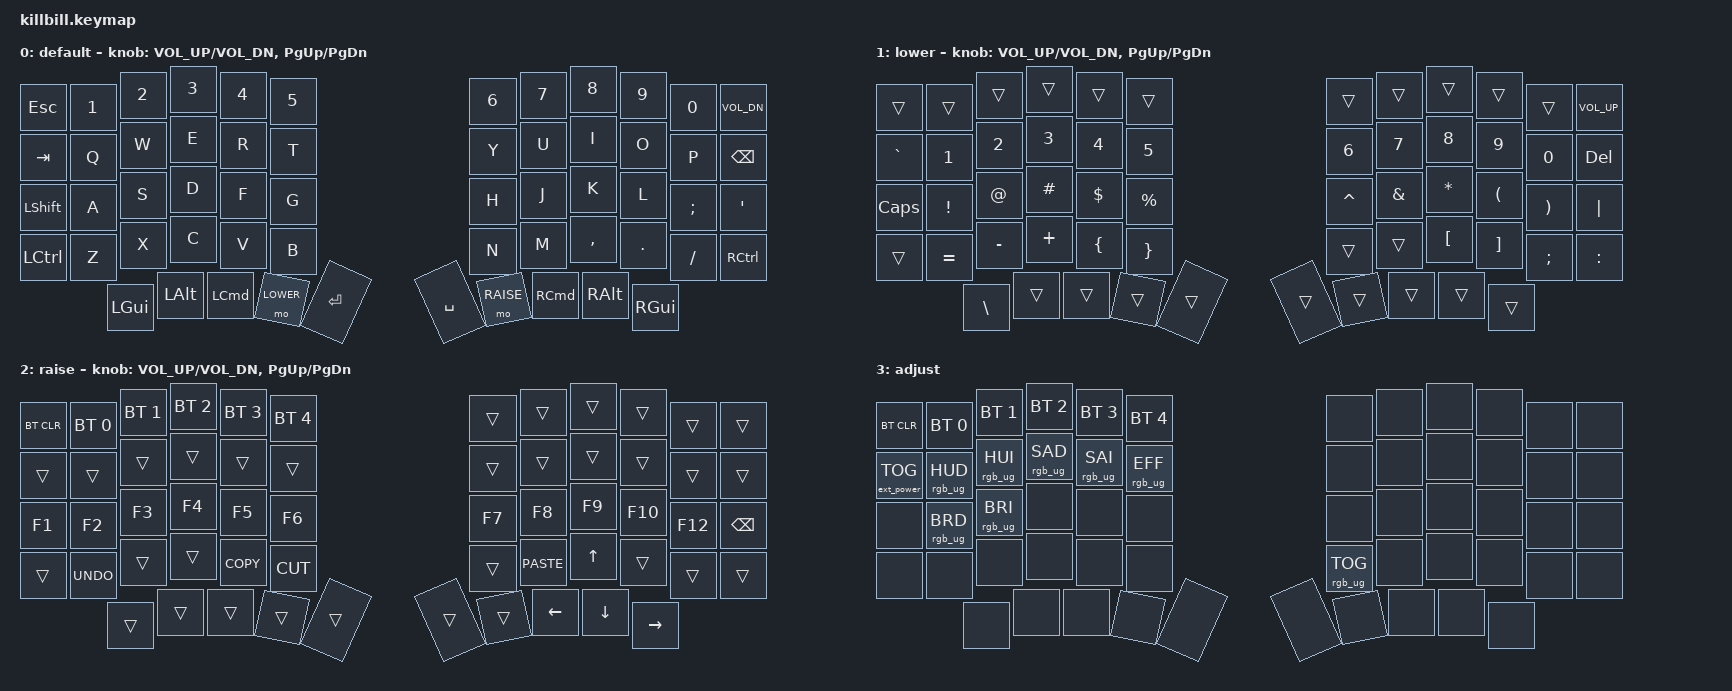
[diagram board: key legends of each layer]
/*
 * Copyright (c) 2020 The ZMK Contributors
 *
 * SPDX-License-Identifier: MIT
 */

#include <behaviors.dtsi>
#include <dt-bindings/zmk/bt.h>
#include <dt-bindings/zmk/ext_power.h>
#include <dt-bindings/zmk/keys.h>
#include <dt-bindings/zmk/rgb.h>

#define BASE 0
#define LOWER 1
#define RAISE 2
#define ADJUST 3

/ {
    // Activate ADJUST layer by pressing raise and lower

    conditional_layers {
        compatible = "zmk,conditional-layers";

        adjust_layer {
            if-layers = <LOWER RAISE>;
            then-layer = <ADJUST>;
        };
    };

    keymap {
        compatible = "zmk,keymap";

        default_layer {
            display-name = "default";

            // ------------------------------------------------------------------------------------------------------------
            // |   `   |  1  |  2  |  3   |  4   |  5   |                   |  6   |  7    |  8    |  9   |   0   |       |
            // |  ESC  |  Q  |  W  |  E   |  R   |  T   |                   |  Y   |  U    |  I    |  O   |   P   | BKSPC |
            // |  TAB  |  A  |  S  |  D   |  F   |  G   |                   |  H   |  J    |  K    |  L   |   ;   |   '   |
            // | SHIFT |  Z  |  X  |  C   |  V   |  B   |                   |  N   |  M    |  ,    |  .   |   /   | SHIFT |
            //               | GUI | ALT  | CTRL | LOWER|  ENTER |  | SPACE | RAISE| CTRL  | ALT   | GUI  |

            bindings = <
&kp ESCAPE  &kp N1  &kp N2  &kp N3  &kp N4  &kp N5  &kp N6  &kp N7  &kp N8  &kp N9  &kp N0  &kp C_VOL_DN  &kp TAB  &kp Q  &kp W  &kp E  &kp R  &kp T  &kp Y  &kp U  &kp I  &kp O  &kp P  &kp BSPC  &kp LSHIFT  &kp A  &kp S  &kp D  &kp F  &kp G  &kp H  &kp J  &kp K  &kp L  &kp SEMI  &kp SQT  &kp LEFT_CONTROL  &kp Z  &kp X  &kp C  &kp V  &kp B  &kp N  &kp M  &kp COMMA  &kp DOT  &kp FSLH  &kp RIGHT_CONTROL  &kp LGUI  &kp LALT  &kp LEFT_COMMAND  &mo LOWER  &kp RET  &kp SPACE  &mo RAISE  &kp RIGHT_COMMAND  &kp RALT  &kp RGUI
            >;

            sensor-bindings = <&inc_dec_kp C_VOL_UP C_VOL_DN &inc_dec_kp PG_UP PG_DN>;
        };

        lower_layer {
            display-name = "lower";

            // TODO: Some binds are waiting for shifted keycode support.
            // ------------------------------------------------------------------------------------------------------------
            // |       |  F1 |  F2 |  F3  |  F4  |  F5  |                   |  F6  |  F7   |  F8   |  F9  |  F10  |  F11  |
            // |   `   |  1  |  2  |  3   |  4   |  5   |                   |  6   |  7    |  8    |  9   |   0   |  F12  |
            // |       |  !  |  @  |  #   |  $   |  %   |                   |  ^   |  &    |  *    |  (   |   )   |   |   |
            // |       |  =  |  -  |  +   |  {   |  }   |                   |  [   |  ]    |  ;    |  :   |   \   |       |
            //               |     |      |      |      |        |  |       |      |       |       |      |

            bindings = <
&trans  &trans  &trans  &trans  &trans  &trans  &trans  &trans  &trans  &trans  &trans  &kp C_VOL_UP  &kp GRAVE  &kp N1  &kp N2  &kp N3  &kp N4  &kp N5  &kp N6  &kp N7  &kp N8  &kp N9  &kp N0  &kp DELETE  &kp CAPSLOCK  &kp EXCL  &kp AT  &kp HASH  &kp DLLR  &kp PRCNT  &kp CARET  &kp AMPS  &kp ASTRK  &kp LPAR  &kp RPAR  &kp PIPE  &trans  &kp EQUAL  &kp MINUS  &kp PLUS  &kp LBRC  &kp RBRC  &trans  &trans  &kp LBKT  &kp RBKT  &kp SEMI  &kp COLON  &kp BSLH  &trans  &trans  &trans  &trans  &trans  &trans  &trans  &trans  &trans
            >;

            sensor-bindings = <&inc_dec_kp C_VOL_UP C_VOL_DN &inc_dec_kp PG_UP PG_DN>;
        };

        raise_layer {
            display-name = "raise";

            // ------------------------------------------------------------------------------------------------------------
            // | BTCLR | BT1  | BT2  |  BT3  |  BT4  |  BT5 |                |      |      |       |      |       |       |
            // |       | INS  | PSCR | GUI   |       |      |                | PGUP |      |   ^   |      |       |       |
            // |       | ALT  | CTRL | SHIFT |       | CAPS |                | PGDN |   <- |   v   |  ->  |  DEL  | BKSPC |
            // |       | UNDO | CUT  | COPY  | PASTE |      |      |  |      |      |      |       |      |       |       |
            //                |      |       |       |      |      |  |      |      |      |       |      |

            bindings = <
&bt BT_CLR  &bt BT_SEL 0  &bt BT_SEL 1  &bt BT_SEL 2  &bt BT_SEL 3  &bt BT_SEL 4  &trans  &trans  &trans  &trans  &trans  &trans  &trans  &trans  &trans  &trans  &trans  &trans  &trans  &trans  &trans  &trans  &trans  &trans  &kp F1  &kp F2  &kp F3  &kp F4  &kp F5  &kp F6  &kp F7  &kp F8  &kp F9  &kp F10  &kp F12  &kp BSPC  &trans  &kp K_UNDO  &trans  &trans  &kp K_COPY  &kp K_CUT  &trans  &kp K_PASTE  &kp UP_ARROW  &trans  &trans  &trans  &trans  &trans  &trans  &trans  &trans  &trans  &trans  &kp LEFT_ARROW  &kp DOWN_ARROW  &kp RIGHT_ARROW
            >;

            sensor-bindings = <&inc_dec_kp C_VOL_UP C_VOL_DN &inc_dec_kp PG_UP PG_DN>;
        };

        adjust_layer {
            // ----------------------------------------------------------------------------------------------------------------------------
            // | BTCLR  |  BT1    |  BT2    |   BT3   |   BT4   |   BT5   |                  |      |      |       |      |       |       |
            // | EXTPWR | RGB_HUD | RGB_HUI | RGB_SAD | RGB_SAI | RGB_EFF |                  |      |      |       |      |       |       |
            // |        | RGB_BRD | RGB_BRI |         |         |         |                  |      |      |       |      |       |       |
            // |        |         |         |         |         |         | RGB_TOG | |      |      |      |       |      |       |       |
            //                    |         |         |         |         |         | |      |      |      |       |      |

            display-name = "adjust";
            bindings = <
&bt BT_CLR  &bt BT_SEL 0  &bt BT_SEL 1  &bt BT_SEL 2  &bt BT_SEL 3  &bt BT_SEL 4  &none  &none  &none  &none  &none  &none  &ext_power EP_TOG  &rgb_ug RGB_HUD  &rgb_ug RGB_HUI  &rgb_ug RGB_SAD  &rgb_ug RGB_SAI  &rgb_ug RGB_EFF  &none  &none  &none  &none  &none  &none  &none  &rgb_ug RGB_BRD  &rgb_ug RGB_BRI  &none  &none  &none  &none  &none  &none  &none  &none  &none  &none  &none  &none  &none  &none  &none  &rgb_ug RGB_TOG  &none  &none  &none  &none  &none  &none  &none  &none  &none  &none  &none  &none  &none  &none  &none
            >;
        };
    };
};
